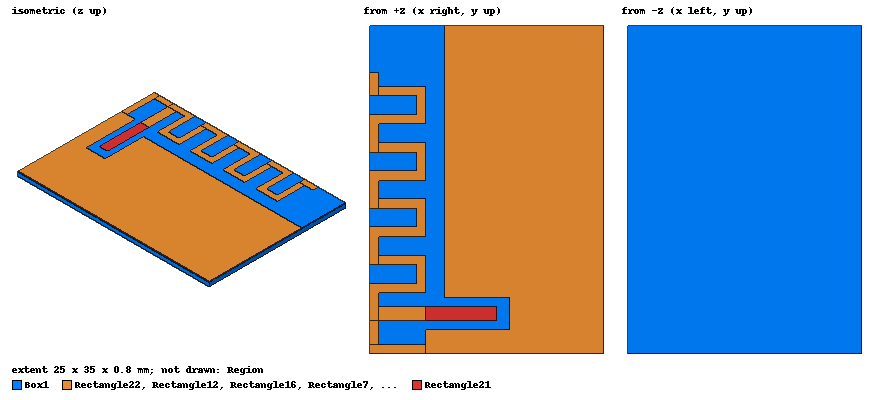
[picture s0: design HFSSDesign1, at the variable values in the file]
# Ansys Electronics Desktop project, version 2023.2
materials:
  vacuum: permittivity=1
  FR4_epoxy: permittivity=4.4 dielectric_loss_tangent=0.02
  air: permittivity=1.0006 permeability=1.0000004

design HFSSDesign1 (HFSS, HFSS Terminal Network, model units mm)
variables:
  w = 1.5294mm
  w1 = 1
  w2 = 1mm
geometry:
  Box1 [FR4_epoxy] = box(corner=(0mm, 0mm, 0mm), size=(25mm, 35mm, -0.8mm))
  Region [air] = region(absolute_offset=15mm on all sides)
  Rectangle1 = rectangle(corner=(0mm, 0mm, 0mm), x_size=6mm, y_size=w2)
  Rectangle2 = rectangle(corner=(0mm, 1mm, 0mm), x_size=1mm, y_size=2.5mm)
  Rectangle3 = rectangle(corner=(1mm, 3.5mm, 0mm), x_size=5mm, y_size=w)
  Rectangle4 = rectangle(corner=(0mm, 3.5mm, 0mm), x_size=1mm, y_size=4mm)
  Rectangle5 = rectangle(corner=(1mm, 6.5mm, 0mm), x_size=4mm, y_size=1mm)
  Rectangle6 = rectangle(corner=(5mm, 6.5mm, 0mm), x_size=1mm, y_size=4mm)
  Rectangle7 = rectangle(corner=(5mm, 10.5mm, 0mm), x_size=-4mm, y_size=-1mm)
  Rectangle7.unite(Rectangle6, Rectangle5, Rectangle4)
  Rectangle8 = rectangle(corner=(5mm, 10.5mm, 0mm), x_size=-4mm, y_size=-1mm)
  Rectangle11 = rectangle(corner=(5mm, 6.5mm, 0mm), x_size=1mm, y_size=4mm)
  Rectangle10 = rectangle(corner=(1mm, 6.5mm, 0mm), x_size=4mm, y_size=1mm)
  Rectangle9 = rectangle(corner=(0mm, 3.5mm, 0mm), x_size=1mm, y_size=4mm)
  Rectangle8.unite(Rectangle11, Rectangle10, Rectangle9)
  Rectangle8.move(0mm, 6mm, 0mm)
  Rectangle12 = rectangle(corner=(5mm, 10.5mm, 0mm), x_size=-4mm, y_size=-1mm)
  Rectangle15 = rectangle(corner=(5mm, 6.5mm, 0mm), x_size=1mm, y_size=4mm)
  Rectangle14 = rectangle(corner=(1mm, 6.5mm, 0mm), x_size=4mm, y_size=1mm)
  Rectangle13 = rectangle(corner=(0mm, 3.5mm, 0mm), x_size=1mm, y_size=4mm)
  Rectangle12.unite(Rectangle15, Rectangle14, Rectangle13)
  Rectangle12.move(0mm, 6mm, 0mm)
  Rectangle12.move(0mm, 6mm, 0mm)
  Rectangle16 = rectangle(corner=(5mm, 10.5mm, 0mm), x_size=-4mm, y_size=-1mm)
  Rectangle19 = rectangle(corner=(5mm, 6.5mm, 0mm), x_size=1mm, y_size=4mm)
  Rectangle18 = rectangle(corner=(1mm, 6.5mm, 0mm), x_size=4mm, y_size=1mm)
  Rectangle17 = rectangle(corner=(0mm, 3.5mm, 0mm), x_size=1mm, y_size=4mm)
  Rectangle16.unite(Rectangle19, Rectangle18, Rectangle17)
  Rectangle16.move(0mm, 6mm, 0mm)
  Rectangle16.move(0mm, 6mm, 0mm)
  Rectangle16.move(0mm, 6mm, 0mm)
  Rectangle20 = rectangle(corner=(0mm, 27.5mm, 0mm), x_size=1mm, y_size=2.5mm)
  Rectangle21 = rectangle(corner=(6mm, 3.5mm, 0mm), x_size=7.6108mm, y_size=w)
  Rectangle22 = rectangle(corner=(6mm, 0mm, 0mm), x_size=19mm, y_size=35mm)
  Rectangle23 = rectangle(corner=(6mm, 5.0294mm, 0mm), x_size=2mm, y_size=29.9706mm)
  Rectangle22.subtract(Rectangle23)
  Rectangle24 = rectangle(corner=(6mm, 2.5147mm, 0mm), x_size=9mm, y_size=3.4853mm)
  Rectangle22.subtract(Rectangle24)
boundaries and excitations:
  Rad1: Radiation Objects=Region
  PerfE1: Perfect E Objects=[Rectangle22, Rectangle1, Rectangle2, Rectangle7, Rectangle3, Rectangle8, Rectangle12, Rectangle16, Rectangle20]
  1: Lumped Port Objects=Rectangle21 LumpedPortType=Modal Modes{Mode1{IntLine{(13.6108, 4.2647, 0) -> (6, 4.2647, 0)} CharImp=Zpi}} Impedance=50ohm
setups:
  Setup1: HfssDriven Frequency=1.8GHz MaxDeltaS=0.02 MaximumPasses=6 MinimumPasses=1 MinimumConvergedPasses=1 PercentRefinement=30 BasisOrder=1 PortAccuracy=2 DrivenSolverType="Direct Solver"
    sweep Sweep: 0.9GHz to 10GHz, 401 points; Type=Interpolating SaveFields InterpTolerance=0.5 InterpMaxSolns=250 PassivityErrorTolerance=0.0001
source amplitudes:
  1:1: 1V 0deg
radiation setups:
  Infinite Sphere1: Infinite Sphere Theta=-180deg..180deg step 10deg Phi=0deg..360deg step 10deg
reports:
  Terminal S Parameter Plot 1: dB(St(1,1)) vs Freq on Setup1 : Sweep; markers m1 at 2.902GHz, m2 at 3.994GHz, m3 at 4.9495GHz
  Gain Plot 1: dB(GainTotal) vs Phi, Theta on Setup1 : LastAdaptive, Infinite Sphere1 [Freq=1.8GHz]
